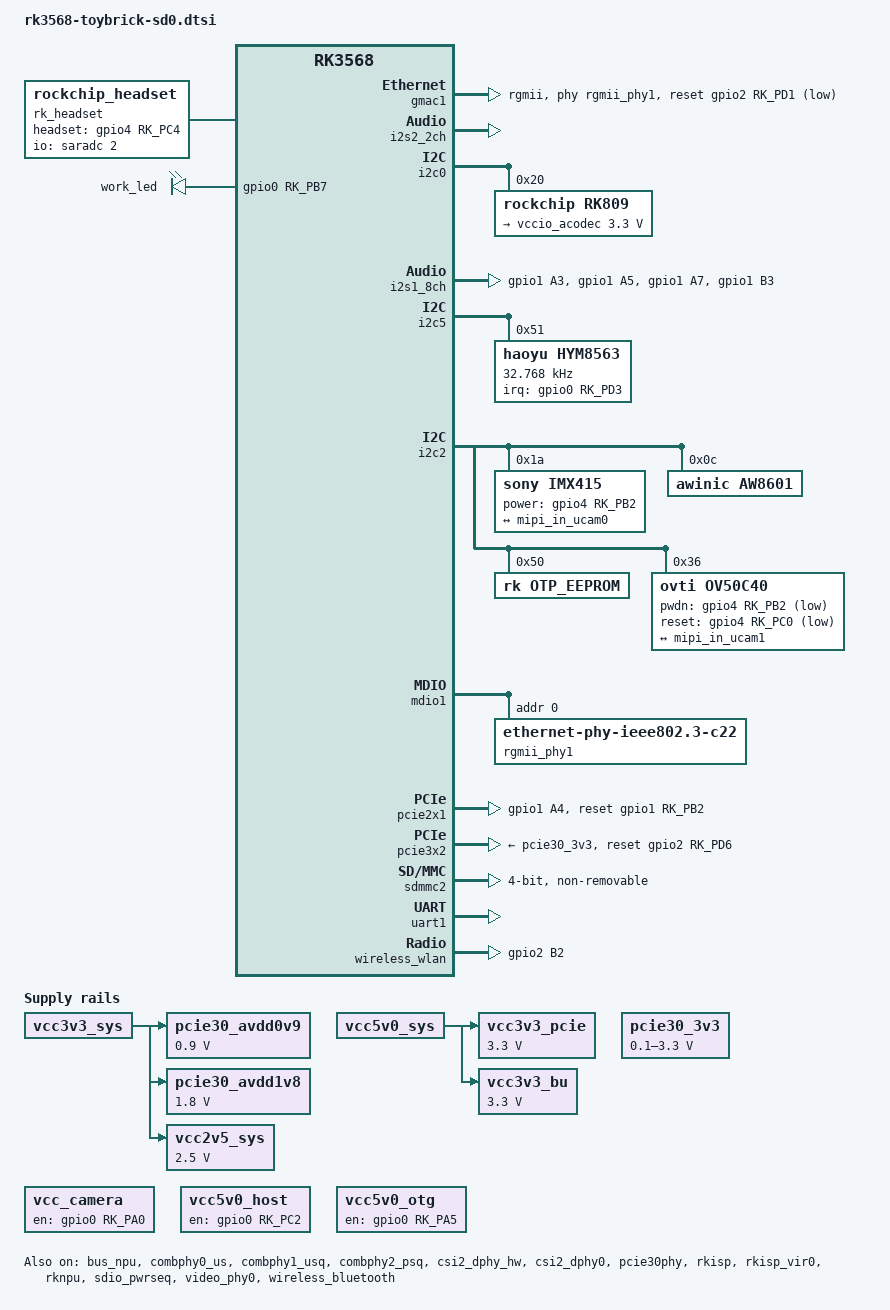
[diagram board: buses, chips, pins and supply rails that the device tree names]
// SPDX-License-Identifier: (GPL-2.0+ OR MIT)
/*
 * Copyright (c) 2023 Rockchip Electronics Co., Ltd.
 *
 */

#include <dt-bindings/gpio/gpio.h>
#include <dt-bindings/pinctrl/rockchip.h>
#include "rk3568.dtsi"
#include "rk3568-toybrick.dtsi"

/delete-node/ &adc_keys;

/ {
	compatible = "rockchip,rk3568-toybrick-sd0", "rockchip,rk3568";

	bt-sound {
		status = "okay";
		compatible = "simple-audio-card";
		simple-audio-card,format = "dsp_a";
		simple-audio-card,bitclock-inversion = <1>;
		simple-audio-card,mclk-fs = <512>;
		simple-audio-card,name = "rockchip,bt";
		#simple-audio-card,bitclock-master = <&sound2_master>;
		#simple-audio-card,frame-master = <&sound2_master>;
		simple-audio-card,cpu {
			sound-dai = <&i2s2_2ch>;
		};
		sound2_master:simple-audio-card,codec {
			#sound-dai-cells = <0>;
			sound-dai = <&bt_sco>;
		};
	};
	pcie30_avdd0v9: pcie30-avdd0v9 {
		compatible = "regulator-fixed";
		regulator-name = "pcie30_avdd0v9";
		regulator-always-on;
		regulator-boot-on;
		regulator-min-microvolt = <900000>;
		regulator-max-microvolt = <900000>;
		vin-supply = <&vcc3v3_sys>;
	};

	pcie30_avdd1v8: pcie30-avdd1v8 {
		compatible = "regulator-fixed";
		regulator-name = "pcie30_avdd1v8";
		regulator-always-on;
		regulator-boot-on;
		regulator-min-microvolt = <1800000>;
		regulator-max-microvolt = <1800000>;
		vin-supply = <&vcc3v3_sys>;
	};

	pcie30_3v3: gpio-regulator {
		compatible = "regulator-gpio";
		regulator-name = "pcie30_3v3";
		regulator-min-microvolt = <100000>;
		regulator-max-microvolt = <3300000>;
		gpios = <&gpio2 RK_PD7 GPIO_ACTIVE_HIGH>;
		gpios-states = <0x1>;
		states = <100000 0x0
				3300000 0x1>;
	};

	rk_headset: rk-headset {
		compatible = "rockchip_headset";
		headset_gpio = <&gpio4 RK_PC4 GPIO_ACTIVE_HIGH>;
		pinctrl-names = "default";
		pinctrl-0 = <&hp_det>;
		io-channels = <&saradc 2>;
	};

	vcc2v5_sys: vcc2v5-ddr {
		compatible = "regulator-fixed";
		regulator-name = "vcc2v5-sys";
		regulator-always-on;
		regulator-boot-on;
		regulator-min-microvolt = <2500000>;
		regulator-max-microvolt = <2500000>;
		vin-supply = <&vcc3v3_sys>;
	};

	vcc3v3_pcie: gpio-regulator {
		compatible = "regulator-fixed";
		regulator-name = "vcc3v3_pcie";
		regulator-min-microvolt = <3300000>;
		regulator-max-microvolt = <3300000>;
		enable-active-high;
		startup-delay-us = <5000>;
		vin-supply = <&vcc5v0_sys>;
	};

	vcc3v3_bu: vcc3v3-bu {
		compatible = "regulator-fixed";
		regulator-name = "vcc3v3_bu";
		regulator-always-on;
		regulator-boot-on;
		regulator-min-microvolt = <3300000>;
		regulator-max-microvolt = <3300000>;
		vin-supply = <&vcc5v0_sys>;
	};

    vcc_camera: vcc-camera-regulator {
		compatible = "regulator-fixed";
		gpio = <&gpio0 RK_PA0 GPIO_ACTIVE_HIGH>;
		pinctrl-names = "default";
		pinctrl-0 = <&camera_pwr>;
		regulator-name = "vcc_camera";
		enable-active-high;
		regulator-always-on;
		regulator-boot-on;
	};

	vcc5v0_host: vcc5v0-host-regulator {
		compatible = "regulator-fixed";
		enable-active-high;
		gpio = <&gpio0 RK_PC2 GPIO_ACTIVE_HIGH>;
		pinctrl-names = "default";
		pinctrl-0 = <&vcc5v0_host_en>;
		regulator-name = "vcc5v0_host";
		regulator-always-on;
	};

	vcc5v0_otg: vcc5v0-otg-regulator {
		compatible = "regulator-fixed";
		enable-active-high;
		gpio = <&gpio0 RK_PA5 GPIO_ACTIVE_HIGH>;
		pinctrl-names = "default";
		pinctrl-0 = <&vcc5v0_otg_en>;
		regulator-name = "vcc5v0_otg";
	};
};

&bus_npu {
	status = "okay";
};

&combphy0_us {
	status = "okay";
};

&combphy1_usq {
	status = "okay";
};

&combphy2_psq {
	status = "okay";
};

&csi2_dphy_hw {
	status = "okay";
};

&csi2_dphy0 {
	status = "okay";

	ports {
		#address-cells = <1>;
		#size-cells = <0>;
		port@0 {
			reg = <0>;
			#address-cells = <1>;
			#size-cells = <0>;

			mipi_in_ucam0: endpoint@1 {
				reg = <1>;
				remote-endpoint = <&imx415_out>;
				data-lanes = <1 2 3 4>;
			};
			mipi_in_ucam1: endpoint@2 {
				reg = <2>;
				remote-endpoint = <&ov50c40_out>;
				data-lanes = <1 2 3 4>;
			};
		};
		port@1 {
			reg = <1>;
			#address-cells = <1>;
			#size-cells = <0>;

			csidphy_out: endpoint@0 {
				reg = <0>;
				remote-endpoint = <&isp0_in>;
			};
		};
	};
};

&gmac1 {
	phy-mode = "rgmii";
	clock_in_out = "output";

	snps,reset-gpio = <&gpio2 RK_PD1 GPIO_ACTIVE_LOW>;
	snps,reset-active-low;
	/* Reset time is 20ms, 100ms for rtl8211f */
	snps,reset-delays-us = <0 20000 100000>;

	assigned-clocks = <&cru SCLK_GMAC1_RX_TX>, <&cru SCLK_GMAC1>, <&cru CLK_MAC1_OUT>;
	assigned-clock-parents = <&cru SCLK_GMAC1_RGMII_SPEED>;
	assigned-clock-rates = <0>, <125000000>, <25000000>;

	pinctrl-names = "default";
	pinctrl-0 = <&gmac1m1_miim
		     &gmac1m1_tx_bus2
		     &gmac1m1_rx_bus2
		     &gmac1m1_rgmii_clk
		     &gmac1m1_rgmii_bus
		     &eth1m1_pins>;

	tx_delay = <0x47>;
	rx_delay = <0x28>;

	phy-handle = <&rgmii_phy1>;
	status = "okay";
};

&i2s2_2ch {
	status = "okay";
	#sound-dai-cells = <0>;
};

&i2c0 {
	status = "okay";
	rk809: pmic@20 {
		compatible = "rockchip,rk809";
		reg = <0x20>;
		regulators {
			vccio_acodec: LDO_REG4 {
				regulator-always-on;
				regulator-boot-on;
				regulator-min-microvolt = <3300000>;
				regulator-max-microvolt = <3300000>;
				regulator-name = "vccio_acodec";
				regulator-state-mem {
					regulator-off-in-suspend;
				};
			};
		};
	};
};

&i2s1_8ch {
	status = "okay";
	#sound-dai-cells = <0>;
	rockchip,clk-trcm = <1>;
	pinctrl-names = "default";
	pinctrl-0 = <&i2s1m0_sclktx
		     &i2s1m0_lrcktx
		     &i2s1m0_sdo0
		     &i2s1m0_sdi0>;
};

&i2c5 {
	status = "okay";
	hym8563: hym8563@51 {
		compatible = "haoyu,hym8563";
		reg = <0x51>;
		#clock-cells = <0>;
		clock-frequency = <32768>;
		clock-output-names = "hym8563";
		pinctrl-names = "default";
		pinctrl-0 = <&rtc_int>;
		interrupt-parent = <&gpio0>;
		interrupts = <RK_PD3 IRQ_TYPE_LEVEL_LOW>;
	};
};

&i2c2 {
	status = "okay";
	pinctrl-names = "default";
	pinctrl-0 = <&i2c2m1_xfer>;
	imx415: imx415@1a {
		compatible = "sony,imx415";
		reg = <0x1a>;
		clocks = <&cru CLK_CIF_OUT>;
		clock-names = "xvclk";
		power-domains = <&power RK3568_PD_VI>;
		pinctrl-names = "default";
		pinctrl-0 = <&cif_clk>;
		// must be high at last
		power-gpios = <&gpio4 RK_PB2 GPIO_ACTIVE_HIGH>;
		// must be high at last  do at vcc_camera
		//reset-gpios = <&gpio0 RK_PA0 GPIO_ACTIVE_LOW>;
		rockchip,camera-module-index = <0>;
		rockchip,camera-module-facing = "back";
		rockchip,camera-module-name = "CMK-OT2022-PX1";
		rockchip,camera-module-lens-name = "IR0147-50IRC-8M-F20-RK3568";
		//lens-focus = <&cam_ircut0>;
		port {
			imx415_out: endpoint {
				remote-endpoint = <&mipi_in_ucam0>;
				data-lanes = <1 2 3 4>;
			};
		};
	};

	aw8601: aw8601@c {
		compatible = "awinic,aw8601";
		status = "okay";
		reg = <0x0c>;
		rockchip,vcm-start-current = <56>;
		rockchip,vcm-rated-current = <96>;
		rockchip,vcm-step-mode = <4>;
		rockchip,camera-module-index = <0>;
		rockchip,camera-module-facing = "back";
	};

	otp_eeprom: otp_eeprom@50 {
		compatible = "rk,otp_eeprom";
		status = "okay";
		reg = <0x50>;
	};

	ov50c40: ov50c40@36 {
		compatible = "ovti,ov50c40";
		reg = <0x36>;
		clocks = <&cru CLK_CIF_OUT>;
		clock-names = "xvclk";
		power-domains = <&power RK3568_PD_VI>;
		pinctrl-names = "default";
		pinctrl-0 = <&cif_clk>;
		pwdn-gpios = <&gpio4 RK_PB2 GPIO_ACTIVE_LOW>;// must be high at last
		reset-gpios = <&gpio4 RK_PC0 GPIO_ACTIVE_LOW>;// must be high at last
		rockchip,camera-module-index = <0>;
		rockchip,camera-module-facing = "back";
		rockchip,camera-module-name = "HZGA06";
		rockchip,camera-module-lens-name = "ZE0082C1-RK3568";
		eeprom-ctrl = <&otp_eeprom>;
		lens-focus = <&aw8601>;
		port {
			ov50c40_out: endpoint {
				remote-endpoint = <&mipi_in_ucam1>;
				data-lanes = <1 2 3 4>;
			};
		};
	};
};

&leds {
	status = "okay";
	compatible = "gpio-leds";
	work_led: work {
		gpios = <&gpio0 RK_PB7 GPIO_ACTIVE_HIGH>;
		linux,default-trigger = "heartbeat";
	};
};

&mdio1 {
	rgmii_phy1: phy@0 {
		compatible = "ethernet-phy-ieee802.3-c22";
		reg = <0x0>;
		clocks = <&cru CLK_MAC1_OUT>;
	};
};

&pcie2x1 {
	reset-gpios = <&gpio1 RK_PB2 GPIO_ACTIVE_HIGH>;
	pinctrl-names = "default";
	pinctrl-0 = <&rtl8111_isolate>;
	status = "okay";
};

&pcie30phy {
	status = "okay";
};

&pcie3x2 {
	reset-gpios = <&gpio2 RK_PD6 GPIO_ACTIVE_HIGH>;
	vpcie3v3-supply = <&pcie30_3v3>;
	status = "okay";
};

&reserved_memory {
	linux,cma {
		compatible = "shared-dma-pool";
		inactive;
		reusable;
		reg = <0x0 0x10000000 0x0 0x08000000>;
		linux,cma-default;
	};
};

&rkisp {
	status = "okay";
};

&rkisp_mmu {
	status = "okay";
};

&rkisp_vir0 {
	status = "okay";

	port {
		#address-cells = <1>;
		#size-cells = <0>;

		isp0_in: endpoint@0 {
			reg = <0>;
			remote-endpoint = <&csidphy_out>;
		};
	};
};

&rockchip_suspend {
	status = "disabled";
};

&rknpu {
	status = "okay";
};

&rknpu_mmu {
	status = "okay";
};

&sdio_pwrseq {
	compatible = "mmc-pwrseq-simple";
	clocks = <&rk809 1>;
	clock-names = "ext_clock";
	pinctrl-names = "default";
	pinctrl-0 = <&wifi_enable_h>;

	/*
	 * On the module itself this is one of these (depending
	 * on the actual card populated):
	 * - SDIO_RESET_L_WL_REG_ON
	 * - PDN (power down when low)
	 */
	reset-gpios = <&gpio2 RK_PB1 GPIO_ACTIVE_LOW>;
	post-power-on-delay-ms = <200>;
	status = "okay";
};

&sdmmc1 {
	status = "disabled";
};

&sdmmc2 {
	max-frequency = <150000000>;
	supports-sdio;
	bus-width = <4>;
	disable-wp;
	cap-sd-highspeed;
	cap-sdio-irq;
	keep-power-in-suspend;
	mmc-pwrseq = <&sdio_pwrseq>;
	non-removable;
	pinctrl-names = "default";
	pinctrl-0 = <&sdmmc2m0_bus4 &sdmmc2m0_cmd &sdmmc2m0_clk>;
	sd-uhs-sdr104;
	status = "okay";
};

&uart1 {
	status = "okay";
	pinctrl-names = "default";
	pinctrl-0 = <&uart1m0_xfer &uart1m0_ctsn>;
};

&video_phy0 {
	status = "okay";
};

&video_phy1 {
	status = "disabled";
};

&wireless_wlan {
	pinctrl-names = "default";
	pinctrl-0 = <&wifi_host_wake_irq>;
	WIFI,host_wake_irq = <&gpio2 RK_PB2 GPIO_ACTIVE_HIGH>;
};

&wireless_bluetooth {
	compatible = "bluetooth-platdata";
	clocks = <&rk809 1>;
	clock-names = "ext_clock";
	//wifi-bt-power-toggle;
	uart_rts_gpios = <&gpio2 RK_PB5 GPIO_ACTIVE_LOW>;
	pinctrl-names = "default", "rts_gpio";
	pinctrl-0 = <&uart1m0_rtsn>;
	pinctrl-1 = <&uart1_pin>;
	BT,reset_gpio    = <&gpio2 RK_PB7 GPIO_ACTIVE_HIGH>;
	BT,wake_gpio     = <&gpio2 RK_PC1 GPIO_ACTIVE_HIGH>;
	BT,wake_host_irq = <&gpio2 RK_PC0 GPIO_ACTIVE_HIGH>;
	status = "okay";
};

&pinctrl {
	cam {
		camera_pwr: camera-pwr {
			rockchip,pins =
				/* camera power en */
				<0 RK_PA0 RK_FUNC_GPIO &pcfg_pull_none>;
		};
	};

	headphone {
		hp_det: hp-det {
			rockchip,pins = <4 RK_PC4 RK_FUNC_GPIO &pcfg_pull_up>;
		};
	};

	i2s1 {
		/omit-if-no-ref/
		i2s1m0_lrckrx: i2s1m0-lrckrx {
			rockchip,pins =
				/* i2s1m0_lrckrx */
				<1 RK_PA6 1 &pcfg_pull_up_drv_level_4>;
		};
		/omit-if-no-ref/
		i2s1m0_lrcktx: i2s1m0-lrcktx {
			rockchip,pins =
				/* i2s1m0_lrcktx */
				<1 RK_PA5 1 &pcfg_pull_up_drv_level_4>;
		};
		/omit-if-no-ref/
		i2s1m0_mclk: i2s1m0-mclk {
			rockchip,pins =
				/* i2s1m0_mclk */
				<1 RK_PA2 1 &pcfg_pull_up_drv_level_4>;
		};
		/omit-if-no-ref/
		i2s1m0_sclkrx: i2s1m0-sclkrx {
			rockchip,pins =
				/* i2s1m0_sclkrx */
				<1 RK_PA4 1 &pcfg_pull_up_drv_level_4>;
		};
		/omit-if-no-ref/
		i2s1m0_sclktx: i2s1m0-sclktx {
			rockchip,pins =
				/* i2s1m0_sclktx */
				<1 RK_PA3 1 &pcfg_pull_up_drv_level_4>;
		};
		/omit-if-no-ref/
		i2s1m0_sdi0: i2s1m0-sdi0 {
			rockchip,pins =
				/* i2s1m0_sdi0 */
				<1 RK_PB3 1 &pcfg_pull_up_drv_level_4>;
		};
		/omit-if-no-ref/
		i2s1m0_sdi1: i2s1m0-sdi1 {
			rockchip,pins =
				/* i2s1m0_sdi1 */
				<1 RK_PB2 2 &pcfg_pull_up_drv_level_4>;
		};
		/omit-if-no-ref/
		i2s1m0_sdi2: i2s1m0-sdi2 {
			rockchip,pins =
				/* i2s1m0_sdi2 */
				<1 RK_PB1 2 &pcfg_pull_up_drv_level_4>;
		};
		/omit-if-no-ref/
		i2s1m0_sdi3: i2s1m0-sdi3 {
			rockchip,pins =
				/* i2s1m0_sdi3 */
				<1 RK_PB0 2 &pcfg_pull_up_drv_level_4>;
		};
		/omit-if-no-ref/
		i2s1m0_sdo0: i2s1m0-sdo0 {
			rockchip,pins =
				/* i2s1m0_sdo0 */
				<1 RK_PA7 1 &pcfg_pull_up_drv_level_4>;
		};
	};

	rtc {
		rtc_int: rtc-int {
			rockchip,pins = <0 RK_PD3 RK_FUNC_GPIO &pcfg_pull_up>;
		};
	};

	rtl8111 {
		rtl8111_isolate: rtl8111-isolate {
			rockchip,pins = <1 RK_PA4 RK_FUNC_GPIO &pcfg_pull_up>;
		};
	};

	sdio-pwrseq {
		wifi_enable_h: wifi-enable-h {
			rockchip,pins = <2 RK_PB1 RK_FUNC_GPIO &pcfg_pull_none>;
		};
	};

	usb {
		vcc5v0_host_en: vcc5v0-host-en {
			rockchip,pins = <0 RK_PC2 RK_FUNC_GPIO &pcfg_pull_none>;
		};

		vcc5v0_otg_en: vcc5v0-otg-en {
			rockchip,pins = <0 RK_PA5 RK_FUNC_GPIO &pcfg_pull_none>;
		};
	};

	wireless-wlan {
		wifi_host_wake_irq: wifi-host-wake-irq {
			rockchip,pins = <2 RK_PB2 RK_FUNC_GPIO &pcfg_pull_down>;
		};
	};

	wireless-bluetooth {
		uart1_pin: uart1-pin {
			rockchip,pins = <2 RK_PB5 RK_FUNC_GPIO &pcfg_pull_none>;
		};
	};
};
